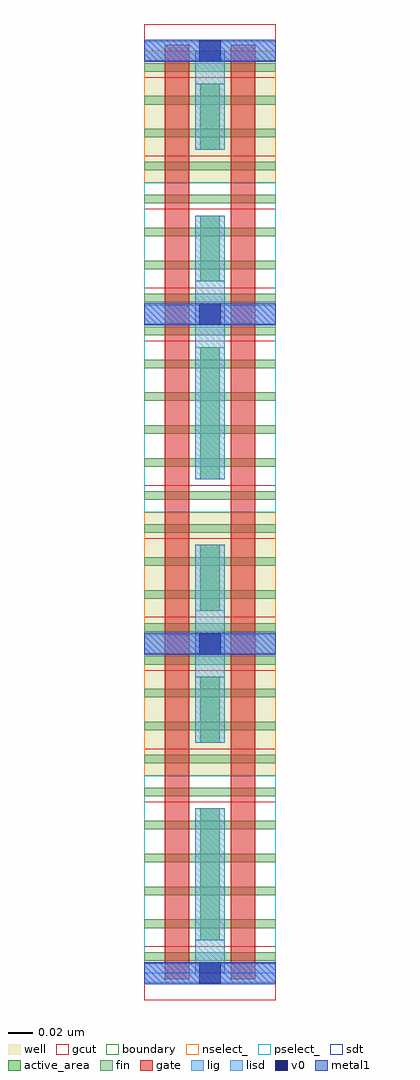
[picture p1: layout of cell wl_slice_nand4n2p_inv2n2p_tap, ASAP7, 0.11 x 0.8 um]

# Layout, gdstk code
import gdstk
lib = gdstk.Library(unit=1e-6, precision=1e-10)
def R(c, l, rs):  # rectangles x0, y0, x1, y1
    for r in rs: c.add(gdstk.rectangle(r[:2], r[2:], *l))
def A(c, l, x, y, w, h, nx, ny, dx, dy):  # array of equal rectangles
    R(c, l, [(x+i*dx, y+j*dy, x+i*dx+w, y+j*dy+h) for i in range(nx) for j in range(ny)])
well = (1, 0)
fin = (2, 0)
gate = (7, 0)
gcut = (10, 0)
active_area = (11, 0)
nselect_ = (12, 0)
pselect_ = (13, 0)
lig = (16, 0)
lisd = (17, 0)
v0 = (18, 0)
metal1 = (19, 0)
sdt = (88, 0)
boundary = (100, 0)

wl_slice_nand4n2p_inv2n2 = lib.new_cell('wl_slice_nand4n2p_inv2n2p_tap__nand')
R(wl_slice_nand4n2p_inv2n2, well, [(0,0.162,0.108,0.27)])
A(wl_slice_nand4n2p_inv2n2, fin, 0, 0.01, 0.108, 0.007, 1, 10, 0, 0.027)
R(wl_slice_nand4n2p_inv2n2, gate, [(0.017,-0.005,0.037,0.275), (0.071,-0.005,0.091,0.275)])
R(wl_slice_nand4n2p_inv2n2, gcut, [(0,-0.022,0.108,0.022), (0,0.14,0.108,0.184), (0,0.248,0.108,0.292)])
R(wl_slice_nand4n2p_inv2n2, active_area, [(0.046,0.027,0.062,0.135), (0.046,0.189,0.062,0.243)])
R(wl_slice_nand4n2p_inv2n2, nselect_, [(0,0.162,0.108,0.27)])
R(wl_slice_nand4n2p_inv2n2, pselect_, [(0,0,0.108,0.162)])
R(wl_slice_nand4n2p_inv2n2, lig, [(0,-0.008,0.108,0.008), (0,0.262,0.108,0.278)])
R(wl_slice_nand4n2p_inv2n2, lisd, [(0.042,0,0.066,0.135), (0.042,0.189,0.066,0.27)])
R(wl_slice_nand4n2p_inv2n2, v0, [(0.045,-0.009,0.063,0.009), (0.045,0.261,0.063,0.279)])
R(wl_slice_nand4n2p_inv2n2, metal1, [(0,-0.009,0.108,0.009), (0,0.261,0.108,0.279)])
R(wl_slice_nand4n2p_inv2n2, sdt, [(0.042,0.027,0.066,0.135), (0.042,0.189,0.066,0.243)])
R(wl_slice_nand4n2p_inv2n2, boundary, [(0,0,0.108,0.27)])
wl_slice_nand4n2p_inv2n2.add(gdstk.Label('VSS', (0.054,0), layer=19, texttype=251))
wl_slice_nand4n2p_inv2n2.add(gdstk.Label('VDD', (0.054,0.27), layer=19, texttype=251))

c_wl_slice_nand4n2p_inv2n2 = lib.new_cell('wl_slice_nand4n2p_inv2n2p_tap__drv')
R(c_wl_slice_nand4n2p_inv2n2, well, [(0,0.108,0.108,0.216)])
A(c_wl_slice_nand4n2p_inv2n2, fin, 0, 0.01, 0.108, 0.007, 1, 8, 0, 0.027)
R(c_wl_slice_nand4n2p_inv2n2, gate, [(0.017,-0.005,0.037,0.221), (0.071,-0.005,0.091,0.221)])
A(c_wl_slice_nand4n2p_inv2n2, gcut, 0, -0.022, 0.108, 0.044, 1, 3, 0, 0.108)
R(c_wl_slice_nand4n2p_inv2n2, active_area, [(0.046,0.027,0.062,0.081), (0.046,0.135,0.062,0.189)])
R(c_wl_slice_nand4n2p_inv2n2, nselect_, [(0,0.108,0.108,0.216)])
R(c_wl_slice_nand4n2p_inv2n2, pselect_, [(0,0,0.108,0.108)])
R(c_wl_slice_nand4n2p_inv2n2, lig, [(0,-0.008,0.108,0.008), (0,0.208,0.108,0.224)])
R(c_wl_slice_nand4n2p_inv2n2, lisd, [(0.042,0,0.066,0.081), (0.042,0.135,0.066,0.216)])
R(c_wl_slice_nand4n2p_inv2n2, v0, [(0.045,-0.009,0.063,0.009), (0.045,0.207,0.063,0.225)])
R(c_wl_slice_nand4n2p_inv2n2, metal1, [(0,-0.009,0.108,0.009), (0,0.207,0.108,0.225)])
R(c_wl_slice_nand4n2p_inv2n2, sdt, [(0.042,0.027,0.066,0.081), (0.042,0.135,0.066,0.189)])
R(c_wl_slice_nand4n2p_inv2n2, boundary, [(0,0,0.108,0.216)])
c_wl_slice_nand4n2p_inv2n2.add(gdstk.Label('VSS', (0.054,0), layer=19, texttype=251))
c_wl_slice_nand4n2p_inv2n2.add(gdstk.Label('VDD', (0.054,0.216), layer=19, texttype=251))

c_wl_slice_nand4n2p_inv2n2_ = lib.new_cell('wl_slice_nand4n2p_inv2n2p_tap')
c_wl_slice_nand4n2p_inv2n2_.add(gdstk.Reference(wl_slice_nand4n2p_inv2n2, (0,0)))
c_wl_slice_nand4n2p_inv2n2_.add(gdstk.Reference(wl_slice_nand4n2p_inv2n2, (0,0.54), x_reflection=True))
c_wl_slice_nand4n2p_inv2n2_.add(gdstk.Reference(c_wl_slice_nand4n2p_inv2n2, (0,0.54)))

lib.write_gds('wl_slice_nand4n2p_inv2n2p_tap.gds')
